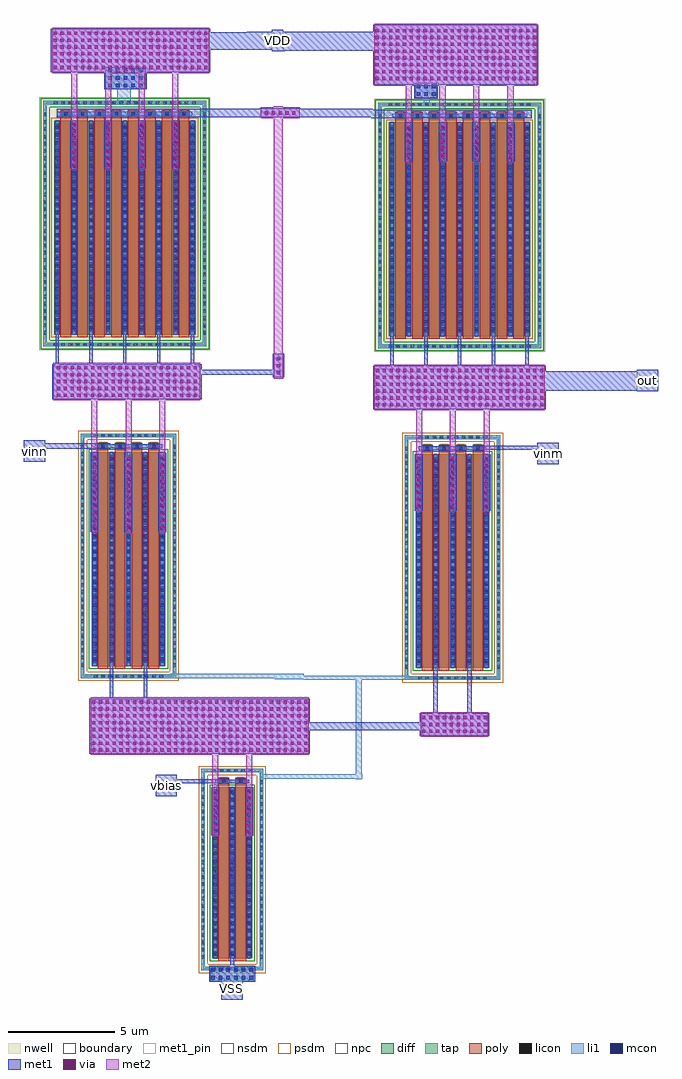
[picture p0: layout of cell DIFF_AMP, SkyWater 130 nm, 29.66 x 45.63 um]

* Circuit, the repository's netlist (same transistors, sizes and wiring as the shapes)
** sch_path: /home/vncuser/design_data/test_design/xschem/DIFF_AMP.sch
.subckt DIFF_AMP VDD vinm vinn vbias VSS out
*.iopin out
*.iopin VDD
*.iopin vinn
*.iopin vinm
*.iopin vbias
*.iopin VSS
XM1 net1 vinn net2 VSS sky130_fd_pr__nfet_01v8 L=0.5 W=40 nf=1 ad=11.6 as=11.6 pd=80.58 ps=80.58 nrd=0.00725 nrs=0.00725 sa=0 sb=0
+ sd=0 mult=1
XM2 out vinm net2 VSS sky130_fd_pr__nfet_01v8 L=0.5 W=40 nf=1 ad=11.6 as=11.6 pd=80.58 ps=80.58 nrd=0.00725 nrs=0.00725 sa=0 sb=0
+ sd=0 mult=1
XM3 net2 vbias VSS VSS sky130_fd_pr__nfet_01v8 L=0.5 W=16 nf=1 ad=4.64 as=4.64 pd=32.58 ps=32.58 nrd=0.018125 nrs=0.018125 sa=0
+ sb=0 sd=0 mult=1
XM4 net1 net1 VDD VDD sky130_fd_pr__pfet_01v8 L=0.5 W=80 nf=1 ad=23.2 as=23.2 pd=160.58 ps=160.58 nrd=0.003625 nrs=0.003625 sa=0
+ sb=0 sd=0 mult=1
XM5 out net1 VDD VDD sky130_fd_pr__pfet_01v8 L=0.5 W=80 nf=1 ad=23.2 as=23.2 pd=160.58 ps=160.58 nrd=0.003625 nrs=0.003625 sa=0
+ sb=0 sd=0 mult=1
.ends DIFF_AMP
.end

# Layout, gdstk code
import gdstk
lib = gdstk.Library(unit=1e-6, precision=1e-09)
def R(c, l, rs):  # rectangles x0, y0, x1, y1
    for r in rs: c.add(gdstk.rectangle(r[:2], r[2:], *l))
def A(c, l, x, y, w, h, nx, ny, dx, dy):  # array of equal rectangles
    R(c, l, [(x+i*dx, y+j*dy, x+i*dx+w, y+j*dy+h) for i in range(nx) for j in range(ny)])
nwell = (64, 20)
diff = (65, 20)
tap = (65, 44)
poly = (66, 20)
licon = (66, 44)
li1 = (67, 20)
mcon = (67, 44)
met1_pin = (68, 16)
met1 = (68, 20)
via = (68, 44)
met2 = (69, 20)
nsdm = (93, 44)
psdm = (94, 20)
npc = (95, 20)
boundary = (235, 4)

sky130_fd_pr__pfet_01v8_ = lib.new_cell('sky130_fd_pr__pfet_01v8_D49JDG')
R(sky130_fd_pr__pfet_01v8_, nwell, [(-3.995,-5.92,3.995,5.92)])
R(sky130_fd_pr__pfet_01v8_, diff, [(-3.305,-5.18,3.305,4.82)])
R(sky130_fd_pr__pfet_01v8_, tap, [(-3.815,-5.74,3.815,-5.57), (-3.815,-5.57,-3.645,5.57), (3.645,-5.57,3.815,5.57), (-3.815,5.57,3.815,5.74)])
A(sky130_fd_pr__pfet_01v8_, poly, -3.015, -5.31, 0.5, 10.615, 8, 1, 0.79, 0)
A(sky130_fd_pr__pfet_01v8_, licon, -3.315, -5.74, 0.17, 0.17, 20, 2, 0.34, 11.31)
A(sky130_fd_pr__pfet_01v8_, licon, -3.815, -5.185, 0.17, 0.17, 1, 31, 0, 0.34)
A(sky130_fd_pr__pfet_01v8_, licon, 3.645, -5.185, 0.17, 0.17, 1, 31, 0, 0.34)
A(sky130_fd_pr__pfet_01v8_, licon, -3.245, -5.025, 0.17, 0.17, 9, 29, 0.79, 0.34)
A(sky130_fd_pr__pfet_01v8_, licon, -2.85, 5.055, 0.17, 0.17, 8, 1, 0.79, 0)
A(sky130_fd_pr__pfet_01v8_, li1, -3.245, -5.2, 0.17, 10.04, 9, 1, 0.79, 0)
R(sky130_fd_pr__pfet_01v8_, li1, [(-3.815,-5.74,3.815,-5.57), (-3.815,-5.57,-3.645,5.57), (3.645,-5.57,3.815,5.57), (-3.16,5.055,3.16,5.225), (-3.815,5.57,3.815,5.74)])
A(sky130_fd_pr__pfet_01v8_, mcon, -3.245, -4.945, 0.17, 0.17, 9, 27, 0.79, 0.36)
A(sky130_fd_pr__pfet_01v8_, mcon, -2.85, 5.055, 0.17, 0.17, 8, 1, 0.79, 0)
A(sky130_fd_pr__pfet_01v8_, met1, -3.275, -5.18, 0.23, 10, 9, 1, 0.79, 0)
A(sky130_fd_pr__pfet_01v8_, met1, -2.995, 5.025, 0.46, 0.03, 8, 2, 0.79, 0.2)
R(sky130_fd_pr__pfet_01v8_, met1, [(-3.16,5.055,3.16,5.225)])
R(sky130_fd_pr__pfet_01v8_, nsdm, [(-3.94,-5.865,3.94,-5.445), (-3.94,-5.445,-3.52,5.445), (3.52,-5.445,3.94,5.445), (-3.94,5.445,3.94,5.865)])
R(sky130_fd_pr__pfet_01v8_, psdm, [(-3.43,-5.305,3.43,4.945)])
A(sky130_fd_pr__pfet_01v8_, npc, -2.95, 4.955, 0.37, 0.37, 8, 1, 0.79, 0)
R(sky130_fd_pr__pfet_01v8_, boundary, [(-3.73,-5.655,3.73,5.655)])
sky130_fd_pr__pfet_01v8_.add(gdstk.Label('B', (0,-5.655), layer=67, texttype=5))
sky130_fd_pr__pfet_01v8_.add(gdstk.Label('D0', (-3.16,-0.18), layer=67, texttype=5))
sky130_fd_pr__pfet_01v8_.add(gdstk.Label('G', (2.765,5.14), layer=67, texttype=5))
sky130_fd_pr__pfet_01v8_.add(gdstk.Label('G', (1.975,5.14), layer=67, texttype=5))
sky130_fd_pr__pfet_01v8_.add(gdstk.Label('G', (1.185,5.14), layer=67, texttype=5))
sky130_fd_pr__pfet_01v8_.add(gdstk.Label('G', (0.395,5.14), layer=67, texttype=5))
sky130_fd_pr__pfet_01v8_.add(gdstk.Label('G', (-0.395,5.14), layer=67, texttype=5))
sky130_fd_pr__pfet_01v8_.add(gdstk.Label('G', (-1.185,5.14), layer=67, texttype=5))
sky130_fd_pr__pfet_01v8_.add(gdstk.Label('G', (-1.975,5.14), layer=67, texttype=5))
sky130_fd_pr__pfet_01v8_.add(gdstk.Label('G', (-2.765,5.14), layer=67, texttype=5))
sky130_fd_pr__pfet_01v8_.add(gdstk.Label('S1', (-2.37,-0.18), layer=67, texttype=5))
sky130_fd_pr__pfet_01v8_.add(gdstk.Label('D2', (-1.58,-0.18), layer=67, texttype=5))
sky130_fd_pr__pfet_01v8_.add(gdstk.Label('S3', (-0.79,-0.18), layer=67, texttype=5))
sky130_fd_pr__pfet_01v8_.add(gdstk.Label('D4', (0,-0.18), layer=67, texttype=5))
sky130_fd_pr__pfet_01v8_.add(gdstk.Label('S5', (0.79,-0.18), layer=67, texttype=5))
sky130_fd_pr__pfet_01v8_.add(gdstk.Label('D6', (1.58,-0.18), layer=67, texttype=5))
sky130_fd_pr__pfet_01v8_.add(gdstk.Label('S7', (2.37,-0.18), layer=67, texttype=5))

sky130_fd_pr__nfet_01v8_ = lib.new_cell('sky130_fd_pr__nfet_01v8_5NTHQT')
R(sky130_fd_pr__nfet_01v8_, diff, [(-0.935,-4.155,0.935,3.845)])
R(sky130_fd_pr__nfet_01v8_, tap, [(-1.445,-4.715,1.445,-4.545), (-1.445,-4.545,-1.275,4.545), (1.275,-4.545,1.445,4.545), (-1.445,4.545,1.445,4.715)])
R(sky130_fd_pr__nfet_01v8_, poly, [(-0.645,-4.285,-0.145,4.285), (0.145,-4.285,0.645,4.285)])
A(sky130_fd_pr__nfet_01v8_, licon, -0.935, -4.715, 0.17, 0.17, 6, 2, 0.34, 9.26)
A(sky130_fd_pr__nfet_01v8_, licon, -1.445, -4.165, 0.17, 0.17, 1, 25, 0, 0.34)
A(sky130_fd_pr__nfet_01v8_, licon, 1.275, -4.165, 0.17, 0.17, 1, 25, 0, 0.34)
A(sky130_fd_pr__nfet_01v8_, licon, -0.875, -3.98, 0.17, 0.17, 3, 23, 0.79, 0.34)
R(sky130_fd_pr__nfet_01v8_, licon, [(-0.48,4.035,-0.31,4.205), (0.31,4.035,0.48,4.205)])
A(sky130_fd_pr__nfet_01v8_, li1, -0.875, -4.175, 0.17, 8.04, 3, 1, 0.79, 0)
R(sky130_fd_pr__nfet_01v8_, li1, [(-1.445,-4.715,1.445,-4.545), (-1.445,-4.545,-1.275,4.545), (1.275,-4.545,1.445,4.545), (-0.79,4.035,0.79,4.205), (-1.445,4.545,1.445,4.715)])
A(sky130_fd_pr__nfet_01v8_, mcon, -0.875, -4.02, 0.17, 0.17, 3, 22, 0.79, 0.36)
R(sky130_fd_pr__nfet_01v8_, mcon, [(-0.48,4.035,-0.31,4.205), (0.31,4.035,0.48,4.205)])
A(sky130_fd_pr__nfet_01v8_, met1, -0.905, -4.155, 0.23, 8, 3, 1, 0.79, 0)
R(sky130_fd_pr__nfet_01v8_, met1, [(-0.625,4.005,-0.165,4.035), (0.165,4.005,0.625,4.035), (-0.79,4.035,0.79,4.205), (-0.625,4.205,-0.165,4.235), (0.165,4.205,0.625,4.235)])
R(sky130_fd_pr__nfet_01v8_, nsdm, [(-1.06,-4.28,1.06,3.97)])
R(sky130_fd_pr__nfet_01v8_, psdm, [(-1.57,-4.84,1.57,-4.42), (-1.57,-4.42,-1.15,4.42), (1.15,-4.42,1.57,4.42), (-1.57,4.42,1.57,4.84)])
R(sky130_fd_pr__nfet_01v8_, npc, [(-0.58,3.935,-0.21,4.305), (0.21,3.935,0.58,4.305)])
R(sky130_fd_pr__nfet_01v8_, boundary, [(-1.36,-4.63,1.36,4.63)])
sky130_fd_pr__nfet_01v8_.add(gdstk.Label('B', (0,-4.63), layer=67, texttype=5))
sky130_fd_pr__nfet_01v8_.add(gdstk.Label('D0', (-0.79,-0.155), layer=67, texttype=5))
sky130_fd_pr__nfet_01v8_.add(gdstk.Label('G', (0.395,4.12), layer=67, texttype=5))
sky130_fd_pr__nfet_01v8_.add(gdstk.Label('G', (-0.395,4.12), layer=67, texttype=5))
sky130_fd_pr__nfet_01v8_.add(gdstk.Label('S1', (0,-0.155), layer=67, texttype=5))

c_sky130_fd_pr__nfet_01v8_ = lib.new_cell('sky130_fd_pr__nfet_01v8_DUA33X')
R(c_sky130_fd_pr__nfet_01v8_, diff, [(-1.725,-5.155,1.725,4.845)])
R(c_sky130_fd_pr__nfet_01v8_, tap, [(-2.235,-5.715,2.235,-5.545), (-2.235,-5.545,-2.065,5.545), (2.065,-5.545,2.235,5.545), (-2.235,5.545,2.235,5.715)])
A(c_sky130_fd_pr__nfet_01v8_, poly, -1.435, -5.285, 0.5, 10.57, 4, 1, 0.79, 0)
A(c_sky130_fd_pr__nfet_01v8_, licon, -1.615, -5.715, 0.17, 0.17, 10, 2, 0.34, 11.26)
A(c_sky130_fd_pr__nfet_01v8_, licon, -2.235, -5.185, 0.17, 0.17, 1, 31, 0, 0.34)
A(c_sky130_fd_pr__nfet_01v8_, licon, 2.065, -5.185, 0.17, 0.17, 1, 31, 0, 0.34)
A(c_sky130_fd_pr__nfet_01v8_, licon, -1.665, -5, 0.17, 0.17, 5, 29, 0.79, 0.34)
A(c_sky130_fd_pr__nfet_01v8_, licon, -1.27, 5.035, 0.17, 0.17, 4, 1, 0.79, 0)
A(c_sky130_fd_pr__nfet_01v8_, li1, -1.665, -5.175, 0.17, 10.04, 5, 1, 0.79, 0)
R(c_sky130_fd_pr__nfet_01v8_, li1, [(-2.235,-5.715,2.235,-5.545), (-2.235,-5.545,-2.065,5.545), (2.065,-5.545,2.235,5.545), (-1.58,5.035,1.58,5.205), (-2.235,5.545,2.235,5.715)])
A(c_sky130_fd_pr__nfet_01v8_, mcon, -1.665, -4.92, 0.17, 0.17, 5, 27, 0.79, 0.36)
A(c_sky130_fd_pr__nfet_01v8_, mcon, -1.27, 5.035, 0.17, 0.17, 4, 1, 0.79, 0)
A(c_sky130_fd_pr__nfet_01v8_, met1, -1.695, -5.155, 0.23, 10, 5, 1, 0.79, 0)
A(c_sky130_fd_pr__nfet_01v8_, met1, -1.415, 5.005, 0.46, 0.03, 4, 2, 0.79, 0.2)
R(c_sky130_fd_pr__nfet_01v8_, met1, [(-1.58,5.035,1.58,5.205)])
R(c_sky130_fd_pr__nfet_01v8_, nsdm, [(-1.85,-5.28,1.85,4.97)])
R(c_sky130_fd_pr__nfet_01v8_, psdm, [(-2.36,-5.84,2.36,-5.42), (-2.36,-5.42,-1.94,5.42), (1.94,-5.42,2.36,5.42), (-2.36,5.42,2.36,5.84)])
A(c_sky130_fd_pr__nfet_01v8_, npc, -1.37, 4.935, 0.37, 0.37, 4, 1, 0.79, 0)
R(c_sky130_fd_pr__nfet_01v8_, boundary, [(-2.15,-5.63,2.15,5.63)])
c_sky130_fd_pr__nfet_01v8_.add(gdstk.Label('B', (0,-5.63), layer=67, texttype=5))
c_sky130_fd_pr__nfet_01v8_.add(gdstk.Label('D0', (-1.58,-0.155), layer=67, texttype=5))
c_sky130_fd_pr__nfet_01v8_.add(gdstk.Label('G', (1.185,5.12), layer=67, texttype=5))
c_sky130_fd_pr__nfet_01v8_.add(gdstk.Label('G', (0.395,5.12), layer=67, texttype=5))
c_sky130_fd_pr__nfet_01v8_.add(gdstk.Label('G', (-0.395,5.12), layer=67, texttype=5))
c_sky130_fd_pr__nfet_01v8_.add(gdstk.Label('G', (-1.185,5.12), layer=67, texttype=5))
c_sky130_fd_pr__nfet_01v8_.add(gdstk.Label('S1', (-0.79,-0.155), layer=67, texttype=5))
c_sky130_fd_pr__nfet_01v8_.add(gdstk.Label('D2', (0,-0.155), layer=67, texttype=5))
c_sky130_fd_pr__nfet_01v8_.add(gdstk.Label('S3', (0.79,-0.155), layer=67, texttype=5))

diff_amp = lib.new_cell('DIFF_AMP')
R(diff_amp, li1, [(20.67,-14.69,22.7,-14.01), (27.46,-5.25,27.76,-5.24), (22.97,-5.24,27.78,-5.01), (27.46,-5.01,27.76,-0.6), (25.03,-0.6,29.96,-0.58), (23.69,-0.58,29.96,-0.52), (18.77,-0.52,29.96,-0.41), (18.77,-0.41,25.05,-0.33), (23.69,-0.33,25.05,-0.31), (30.66,26.22,30.94,26.62), (16.32,26.29,16.95,27.03), (30.26,26.62,31.25,27.31), (15.76,27.03,17.64,28.04)])
A(diff_amp, mcon, 20.7, -14.615, 0.17, 0.17, 6, 2, 0.36, 0.36)
A(diff_amp, mcon, 30.31, 26.7, 0.17, 0.17, 3, 2, 0.36, 0.36)
A(diff_amp, mcon, 15.895, 27.09, 0.17, 0.17, 5, 3, 0.36, 0.36)
R(diff_amp, met1_pin, [(21.18,-15.55,22.18,-14.55), (18.11,-6.05,19.11,-5.05), (35.96,9.47,36.96,10.47), (11.95,9.585,12.95,10.585), (40.61,12.89,41.61,13.89), (23.54,28.78,24.09,29.78)])
R(diff_amp, met1, [(21.18,-15.55,22.18,-14.72), (20.61,-14.72,22.76,-13.98), (21.6,-13.98,21.78,-13.46), (22.3,-7.89,22.68,-5.63), (20.71,-7.88,21.09,-5.62), (18.11,-6.05,19.11,-5.43), (18.11,-5.43,21.09,-5.25), (18.11,-5.25,19.11,-5.05), (15.02,-4.05,25.33,-2.97), (30.47,-3.22,33.72,-2.97), (15.02,-2.97,33.72,-2.58), (15.02,-2.58,25.33,-1.48), (30.47,-2.58,33.72,-2.16), (31.09,-2.16,31.31,0.26), (32.68,-2.16,32.9,0.29), (15.96,-1.48,16.14,0.25), (17.55,-1.48,17.73,0.23), (18.23,6.29,18.61,10.01), (16.65,6.3,17.03,10.02), (15.05,6.31,15.43,10.03), (33.41,7.29,33.79,9.94), (30.23,7.3,30.61,9.95), (31.81,7.31,32.19,9.96), (35.96,9.47,36.96,10.16), (11.95,9.585,12.95,10.19), (33.39,10.16,36.96,10.33), (11.95,10.19,16,10.45), (35.96,10.33,36.96,10.47), (11.95,10.45,12.95,10.585), (28.29,12.04,36.36,12.92), (13.28,12.52,20.26,13.65), (40.61,12.89,41.61,12.92), (28.29,12.92,41.61,13.82), (23.59,13.53,24.12,13.65), (13.28,13.65,24.12,13.89), (28.29,13.82,36.36,14.07), (40.61,13.82,41.61,13.89), (13.28,13.89,20.26,14.16), (23.59,13.89,24.12,14.64), (29.08,14.07,29.25,15.68), (30.67,14.07,30.84,15.6), (32.24,14.07,32.41,15.67), (33.82,14.07,33.99,15.63), (35.39,14.07,35.56,15.65), (13.44,14.16,13.59,15.62), (15.02,14.16,15.17,15.67), (16.6,14.16,16.75,15.71), (18.18,14.16,18.33,15.65), (19.76,14.16,19.91,15.7), (14.12,23.29,14.48,25.53), (17.29,23.29,17.65,25.53), (18.87,23.3,19.23,25.54), (15.71,23.31,16.07,25.55), (34.52,23.61,34.9,25.44), (29.75,23.63,30.13,25.46), (31.36,23.64,31.74,25.47), (32.92,23.65,33.3,25.48), (28.2,25.65,35.7,25.7), (22.98,25.69,24.89,25.7), (13.48,25.7,35.7,26.04), (13.48,26.04,28.27,26.1), (22.98,26.1,24.89,26.11), (30.2,26.59,31.31,27.22), (15.7,27,17.7,27.81), (28.28,27.22,36.01,28.8), (13.22,27.81,20.66,28.85), (23.54,28.78,24.16,28.8), (23.54,28.8,36.01,28.86), (13.22,28.85,22.46,28.86), (13.22,28.86,36.01,29.68), (13.22,29.68,20.66,29.83), (22.4,29.68,36.01,29.69), (23.54,29.69,24.21,29.7), (28.28,29.69,36.01,30.03), (23.54,29.7,24.09,29.78)])
A(diff_amp, via, 22.415, -7.795, 0.15, 0.15, 1, 7, 0, 0.32)
A(diff_amp, via, 20.825, -7.785, 0.15, 0.15, 1, 7, 0, 0.32)
A(diff_amp, via, 15.14, -3.96, 0.15, 0.15, 32, 8, 0.32, 0.32)
A(diff_amp, via, 30.58, -3.085, 0.15, 0.15, 10, 3, 0.32, 0.32)
A(diff_amp, via, 18.345, 6.475, 0.15, 0.15, 1, 11, 0, 0.32)
A(diff_amp, via, 16.765, 6.485, 0.15, 0.15, 1, 11, 0, 0.32)
A(diff_amp, via, 15.165, 6.495, 0.15, 0.15, 1, 11, 0, 0.32)
A(diff_amp, via, 33.525, 7.42, 0.15, 0.15, 1, 8, 0, 0.32)
A(diff_amp, via, 30.345, 7.43, 0.15, 0.15, 1, 8, 0, 0.32)
A(diff_amp, via, 31.925, 7.44, 0.15, 0.15, 1, 8, 0, 0.32)
A(diff_amp, via, 28.41, 12.18, 0.15, 0.15, 25, 6, 0.32, 0.32)
A(diff_amp, via, 13.495, 12.625, 0.15, 0.15, 21, 5, 0.32, 0.32)
A(diff_amp, via, 23.78, 13.69, 0.15, 0.15, 1, 3, 0, 0.32)
A(diff_amp, via, 14.225, 23.375, 0.15, 0.15, 1, 7, 0, 0.32)
A(diff_amp, via, 17.395, 23.375, 0.15, 0.15, 1, 7, 0, 0.32)
A(diff_amp, via, 18.975, 23.385, 0.15, 0.15, 1, 7, 0, 0.32)
A(diff_amp, via, 15.815, 23.395, 0.15, 0.15, 1, 7, 0, 0.32)
A(diff_amp, via, 34.635, 23.81, 0.15, 0.15, 1, 5, 0, 0.32)
A(diff_amp, via, 29.865, 23.83, 0.15, 0.15, 1, 5, 0, 0.32)
A(diff_amp, via, 31.475, 23.84, 0.15, 0.15, 1, 5, 0, 0.32)
A(diff_amp, via, 33.035, 23.85, 0.15, 0.15, 1, 5, 0, 0.32)
A(diff_amp, via, 23.22, 25.825, 0.15, 0.15, 5, 1, 0.32, 0)
A(diff_amp, via, 28.39, 27.43, 0.15, 0.15, 24, 8, 0.32, 0.32)
A(diff_amp, via, 13.345, 27.945, 0.15, 0.15, 23, 6, 0.32, 0.32)
R(diff_amp, met2, [(22.35,-7.94,22.63,-4.1), (20.76,-7.93,21.04,-4.1), (15.07,-4.1,25.28,-1.43), (30.52,-3.27,33.67,-2.11), (18.28,6.24,18.56,12.47), (16.7,6.25,16.98,9.77), (15.1,6.26,15.38,9.94), (33.46,7.24,33.74,11.99), (30.28,7.25,30.56,9.87), (31.86,7.26,32.14,11.99), (16.7,9.77,16.99,10.07), (30.28,9.87,30.57,10), (15.1,9.94,15.39,10.08), (30.29,10,30.57,11.99), (16.71,10.07,16.99,12.47), (15.11,10.08,15.39,12.47), (28.34,11.99,36.31,14.12), (13.33,12.47,20.21,14.21), (23.64,13.48,24.07,14.69), (23.64,14.69,24.06,25.64), (14.17,23.24,14.43,24.7), (17.34,23.24,17.6,24.62), (18.92,23.25,19.18,24.54), (15.76,23.26,16.02,24.56), (34.57,23.56,34.85,24.92), (29.8,23.58,30.08,25.08), (31.41,23.59,31.69,24.99), (32.97,23.6,33.25,24.96), (18.89,24.54,19.18,25.59), (15.76,24.56,16.04,27.76), (17.33,24.62,17.61,27.76), (14.16,24.7,14.44,27.76), (34.56,24.92,34.85,27.17), (32.96,24.96,33.25,27.17), (31.38,24.99,31.69,25.52), (29.8,25.08,30.09,27.17), (31.38,25.52,31.67,27.17), (18.89,25.59,19.17,27.76), (23.03,25.64,24.84,26.16), (23.64,26.16,24.06,26.21), (28.33,27.17,35.96,30.08), (13.27,27.76,20.61,29.88)])
diff_amp.add(gdstk.Reference(sky130_fd_pr__pfet_01v8_, (32.325,20.645)))
diff_amp.add(gdstk.Reference(sky130_fd_pr__pfet_01v8_, (16.675,20.72)))
diff_amp.add(gdstk.Reference(sky130_fd_pr__nfet_01v8_, (21.695,-9.475)))
diff_amp.add(gdstk.Reference(c_sky130_fd_pr__nfet_01v8_, (31.995,5.105)))
diff_amp.add(gdstk.Reference(c_sky130_fd_pr__nfet_01v8_, (16.845,5.195)))
diff_amp.add(gdstk.Label('VDD', (23.815,29.28), layer=68, texttype=5))
diff_amp.add(gdstk.Label('vinm', (36.46,9.97), layer=68, texttype=5))
diff_amp.add(gdstk.Label('vinn', (12.45,10.085), layer=68, texttype=5))
diff_amp.add(gdstk.Label('vbias', (18.61,-5.55), layer=68, texttype=5))
diff_amp.add(gdstk.Label('VSS', (21.68,-15.05), layer=68, texttype=5))
diff_amp.add(gdstk.Label('out', (41.11,13.39), layer=68, texttype=5))

lib.write_gds('DIFF_AMP.gds')
